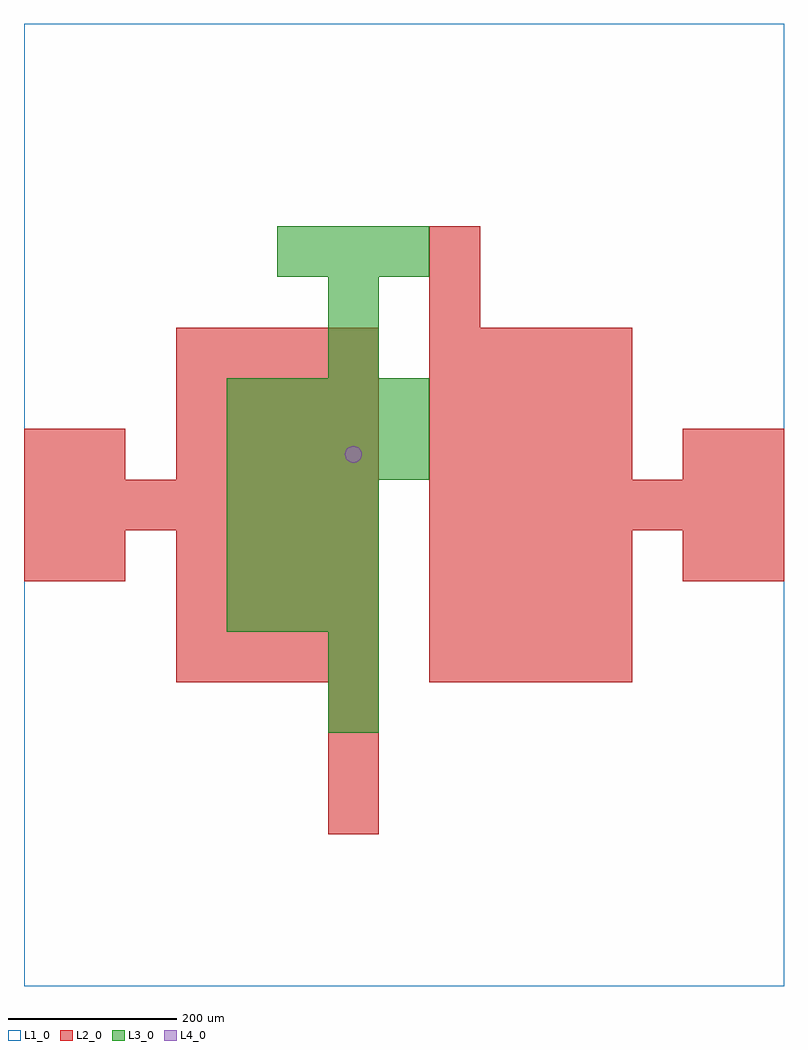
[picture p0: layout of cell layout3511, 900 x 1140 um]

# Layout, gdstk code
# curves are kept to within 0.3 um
import gdstk
lib = gdstk.Library(unit=1e-6, precision=1e-09)
def R(c, l, rs):  # rectangles x0, y0, x1, y1
    for r in rs: c.add(gdstk.rectangle(r[:2], r[2:], *l))
def A(c, l, x, y, w, h, nx, ny, dx, dy):  # array of equal rectangles
    R(c, l, [(x+i*dx, y+j*dy, x+i*dx+w, y+j*dy+h) for i in range(nx) for j in range(ny)])
def P(c, l, *ps):  # polygons
    for p in ps: c.add(gdstk.Polygon(p, *l))
L1_0 = (1, 0)
L2_0 = (2, 0)
L3_0 = (3, 0)
L4_0 = (4, 0)

layout3511 = lib.new_cell('layout3511')
R(layout3511, L1_0, [(0,0,900,1140)])
A(layout3511, L2_0, 360, 180, 60, 60, 1, 3, 0, 60)
A(layout3511, L2_0, 180, 360, 60, 60, 4, 3, 60, 60)
A(layout3511, L2_0, 480, 360, 60, 60, 4, 3, 60, 60)
A(layout3511, L2_0, 0, 540, 60, 60, 7, 1, 60, 0)
A(layout3511, L2_0, 480, 540, 60, 60, 7, 1, 60, 0)
A(layout3511, L2_0, 180, 600, 60, 60, 4, 3, 60, 60)
A(layout3511, L2_0, 480, 600, 60, 60, 4, 3, 60, 60)
R(layout3511, L2_0, [(0,480,60,540), (60,480,120,540), (780,480,840,540), (840,480,900,540), (0,600,60,660), (60,600,120,660), (780,600,840,660), (840,600,900,660), (480,780,540,840), (480,840,540,900)])
A(layout3511, L3_0, 240, 420, 60, 60, 3, 3, 60, 60)
A(layout3511, L3_0, 240, 600, 60, 60, 4, 2, 60, 60)
A(layout3511, L3_0, 300, 840, 60, 60, 3, 1, 60, 0)
R(layout3511, L3_0, [(360,300,420,360), (360,360,420,420), (360,720,420,780), (360,780,420,840)])
P(layout3511, L4_0, [(400,630),(399.239,633.827),(397.071,637.071),(393.827,639.239),(390,640),(386.173,639.239),(382.929,637.071),(380.761,633.827),(380,630),(380.761,626.173),(382.929,622.929),(386.173,620.761),(390,620),(393.827,620.761),(397.071,622.929),(399.239,626.173)])

lib.write_gds('layout3511.gds')
